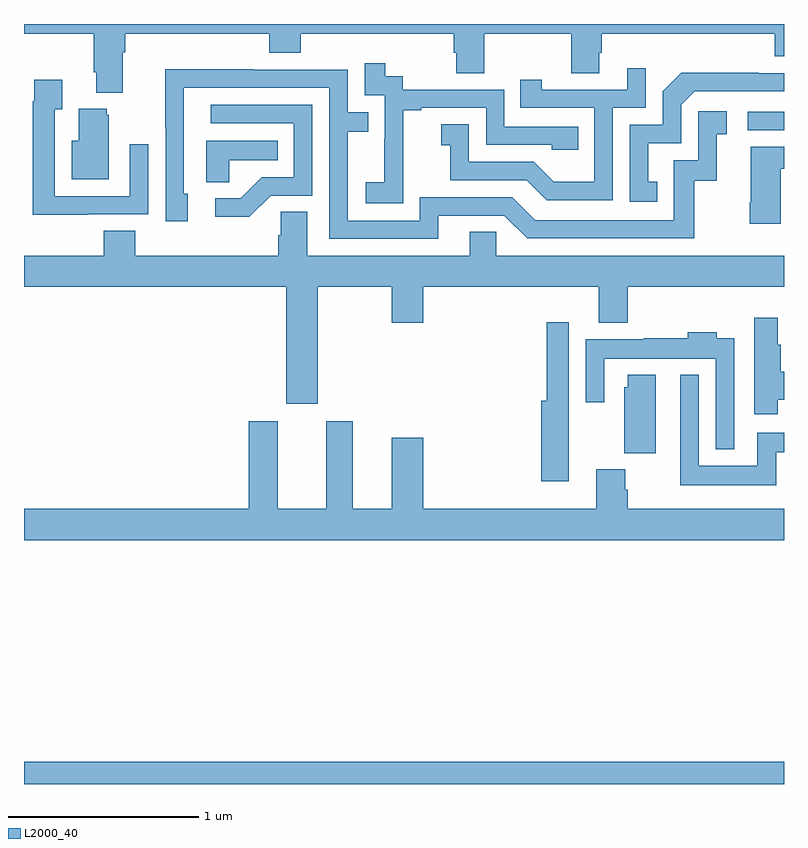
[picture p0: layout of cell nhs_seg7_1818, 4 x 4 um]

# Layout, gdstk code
import gdstk
lib = gdstk.Library(unit=1e-6, precision=1e-09)
def R(c, l, rs):  # rectangles x0, y0, x1, y1
    for r in rs: c.add(gdstk.rectangle(r[:2], r[2:], *l))
def P(c, l, *ps):  # polygons
    for p in ps: c.add(gdstk.Polygon(p, *l))
L2000_40 = (2000, 40)

nhs_seg7_1818 = lib.new_cell('nhs_seg7_1818')
R(nhs_seg7_1818, L2000_40, [(235,998,239,998.116), (238.809,1001.442,239,1001.538)])
P(nhs_seg7_1818, L2000_40, [(235,1001.948),(235.367,1001.948),(235.367,1001.746),(235.379,1001.746),(235.379,1001.639),(235.519,1001.639),(235.519,1001.852),(235.532,1001.852),(235.532,1001.948),(236.291,1001.948),(236.291,1001.849),(236.456,1001.849),(236.456,1001.948),(237.263,1001.948),(237.263,1001.85),(237.275,1001.85),(237.275,1001.74),(237.423,1001.74),(237.423,1001.948),(237.88,1001.948),(237.88,1001.74),(238.027,1001.74),(238.027,1001.85),(238.04,1001.85),(238.04,1001.948),(238.952,1001.948),(238.952,1001.831),(239,1001.831),(239,1002),(235,1002)],
  [(236.997,1001.263),(236.996,1001.263),(236.996,1001.547),(237.091,1001.547),(237.091,1001.559),(237.432,1001.559),(237.432,1001.364),(237.777,1001.364),(237.777,1001.337),(237.917,1001.337),(237.917,1001.46),(237.528,1001.46),(237.528,1001.655),(236.994,1001.655),(236.994,1001.724),(236.902,1001.724),(236.902,1001.794),(236.793,1001.794),(236.793,1001.625),(236.898,1001.625),(236.898,1001.396),(236.897,1001.396),(236.897,1001.167),(236.799,1001.167),(236.799,1001.057),(236.997,1001.057)],
  [(238.098,1001.559),(238.272,1001.559),(238.272,1001.767),(238.175,1001.767),(238.175,1001.655),(237.724,1001.655),(237.724,1001.707),(237.613,1001.707),(237.613,1001.559),(238.002,1001.559),(238.002,1001.17),(237.788,1001.17),(237.684,1001.274),(237.342,1001.274),(237.342,1001.473),(237.195,1001.473),(237.195,1001.363),(237.244,1001.363),(237.244,1001.178),(237.647,1001.178),(237.752,1001.073),(238.098,1001.073)],
  [(237.181,1000.992),(237.528,1000.992),(237.648,1000.872),(238.528,1000.872),(238.528,1001.175),(238.646,1001.175),(238.646,1001.421),(238.699,1001.421),(238.699,1001.542),(238.548,1001.542),(238.548,1001.283),(238.419,1001.283),(238.419,1000.968),(237.69,1000.968),(237.57,1001.088),(237.084,1001.088),(237.084,1000.965),(236.703,1000.965),(236.703,1001.434),(236.813,1001.434),(236.813,1001.535),(236.703,1001.535),(236.703,1001.76),(236.207,1001.76),(236.207,1001.762),(235.744,1001.762),(235.744,1001.455),(235.746,1001.455),(235.746,1000.962),(235.861,1000.962),(235.861,1001.106),(235.842,1001.106),(235.842,1001.664),(236.607,1001.664),(236.607,1000.869),(237.181,1000.869)],
  [(238.334,1001.169),(238.285,1001.169),(238.285,1001.373),(238.458,1001.373),(238.458,1001.574),(238.53,1001.646),(239,1001.646),(239,1001.742),(238.868,1001.742),(238.868,1001.744),(238.46,1001.744),(238.362,1001.646),(238.362,1001.469),(238.188,1001.469),(238.188,1001.064),(238.334,1001.064)],
  [(235.337,1000.998),(235.653,1000.998),(235.653,1001.368),(235.557,1001.368),(235.557,1001.094),(235.161,1001.094),(235.161,1001.551),(235.201,1001.551),(235.201,1001.707),(235.053,1001.707),(235.053,1001.594),(235.045,1001.594),(235.045,1000.997),(235.337,1000.997)],
  [(236.298,1001.097),(236.517,1001.097),(236.517,1001.574),(235.983,1001.574),(235.983,1001.478),(236.421,1001.478),(236.421,1001.193),(236.252,1001.193),(236.141,1001.082),(236.007,1001.082),(236.007,1000.985),(236.185,1000.985)],
  [(235.447,1001.523),(235.436,1001.523),(235.436,1001.554),(235.289,1001.554),(235.289,1001.386),(235.25,1001.386),(235.25,1001.183),(235.447,1001.183)],
  [(236.079,1001.282),(236.336,1001.282),(236.336,1001.386),(235.958,1001.386),(235.958,1001.167),(236.079,1001.167)],
  [(238.984,1001.239),(239,1001.239),(239,1001.353),(238.826,1001.353),(238.826,1001.062),(238.819,1001.062),(238.819,1000.95),(238.984,1000.95)],
  [(236.545,1000.616),(236.936,1000.616),(236.936,1000.428),(237.1,1000.428),(237.1,1000.616),(238.025,1000.616),(238.025,1000.427),(238.178,1000.427),(238.178,1000.616),(239,1000.616),(239,1000.78),(237.486,1000.78),(237.486,1000.907),(237.347,1000.907),(237.347,1000.78),(236.491,1000.78),(236.491,1001.012),(236.352,1001.012),(236.352,1000.889),(236.339,1000.889),(236.339,1000.78),(235.586,1000.78),(235.586,1000.913),(235.421,1000.913),(235.421,1000.78),(235,1000.78),(235,1000.616),(236.381,1000.616),(236.381,1000.002),(236.545,1000.002)],
  [(238.966,1000.022),(239,1000.022),(239,1000.17),(238.984,1000.17),(238.984,1000.311),(238.966,1000.311),(238.966,1000.453),(238.844,1000.453),(238.844,999.945),(238.966,999.945)],
  [(237.868,999.914),(237.867,999.914),(237.867,1000.429),(237.751,1000.429),(237.751,1000.018),(237.722,1000.018),(237.722,999.594),(237.868,999.594)],
  [(238.737,1000.345),(238.645,1000.345),(238.645,1000.378),(238.493,1000.378),(238.493,1000.345),(238.261,1000.345),(238.261,1000.342),(237.957,1000.342),(237.957,1000.008),(238.053,1000.008),(238.053,1000.238),(238.641,1000.238),(238.641,999.761),(238.737,999.761)],
  [(238.958,999.746),(239,999.746),(239,999.85),(238.86,999.85),(238.86,999.676),(238.551,999.676),(238.551,1000.153),(238.454,1000.153),(238.454,999.572),(238.958,999.572)],
  [(238.324,1000.153),(238.178,1000.153),(238.178,1000.089),(238.16,1000.089),(238.16,999.742),(238.324,999.742)],
  [(239,999.448),(238.178,999.448),(238.178,999.548),(238.165,999.548),(238.165,999.657),(238.013,999.657),(238.013,999.448),(237.1,999.448),(237.1,999.823),(236.936,999.823),(236.936,999.448),(236.731,999.448),(236.731,999.91),(236.591,999.91),(236.591,999.448),(236.335,999.448),(236.335,999.91),(236.183,999.91),(236.183,999.448),(235,999.448),(235,999.284),(239,999.284)])

lib.write_gds('nhs_seg7_1818.gds')
